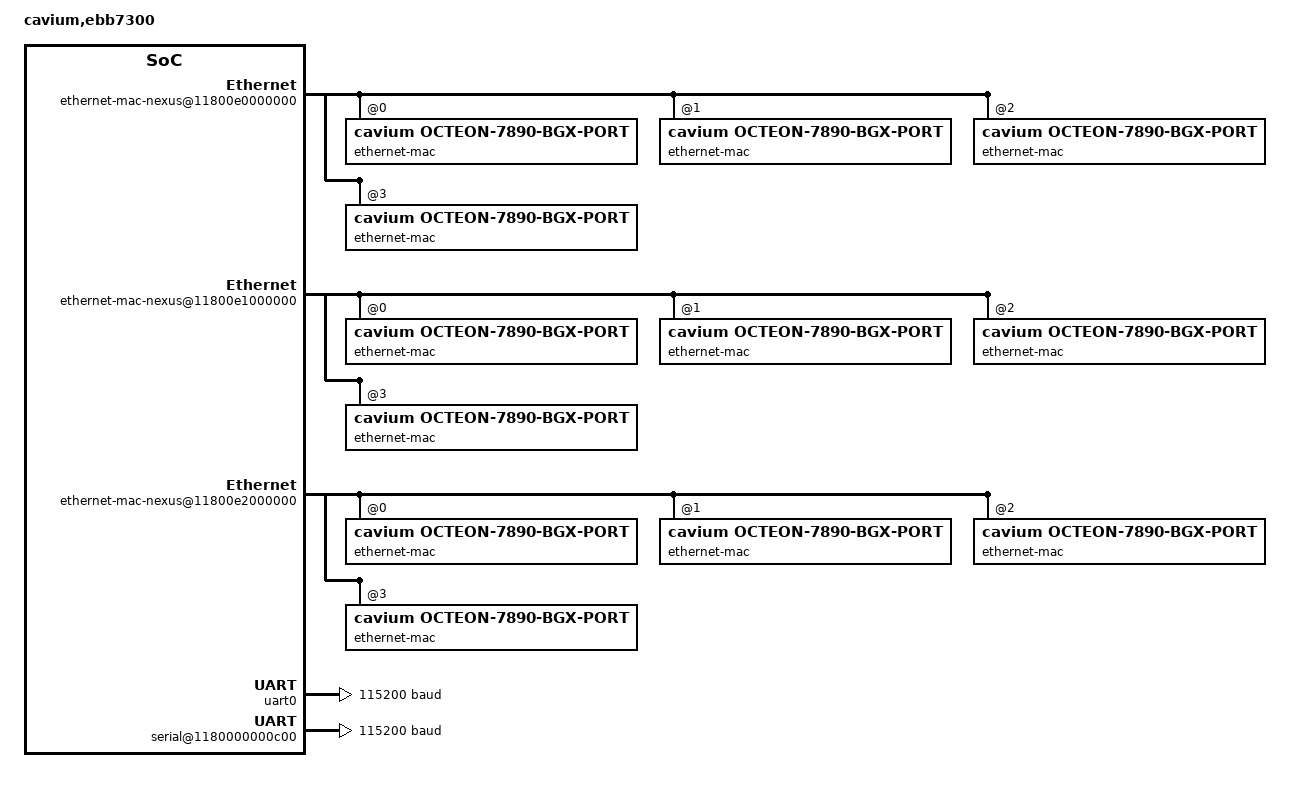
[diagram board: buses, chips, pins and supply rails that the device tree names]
/dts-v1/;
/*
 * Cavium Inc. sim CN7300
 */
/ {
	model = "cavium,ebb7300";
	compatible = "cavium,ebb7300";
	#address-cells = <2>;
	#size-cells = <2>;

	soc@0 {
		interrupt-parent = <&ciu3>;
		compatible = "simple-bus";
		#address-cells = <2>;
		#size-cells = <2>;
		ranges; /* Direct mapping */

		ciu3: interrupt-controller@1010000000000 {
			compatible = "cavium,octeon-7890-ciu3";
			interrupt-controller;
			/* Interrupts are specified by two parts:
			 * 1) Source number (20 significant bits)
			 * 2) Trigger type: (4 == level, 1 == edge)
			 */
			#address-cells = <0>;
			#interrupt-cells = <2>;
			reg = <0x10100 0x00000000 0x0 0xb0000000>;
		};

		/* BGX definitions here must match sim_board.c settings. */
		/* BGX 0*/
		ethernet-mac-nexus@11800e0000000 {
			compatible = "cavium,octeon-7890-bgx";
			reg = <0x11800 0xe0000000 0x0 0x1000000>;
			#address-cells = <1>;
			#size-cells = <0>;

			/* SerDes 0, may differ from PCS Lane/LMAC */
			ethernet-mac@0 {
				compatible = "cavium,octeon-7890-bgx-port";
				reg = <0>;
				local-mac-address = [ 00 00 00 00 00 00 ];
			};
			/* SerDes 1, may differ from PCS Lane/LMAC */
			ethernet-mac@1 {
				compatible = "cavium,octeon-7890-bgx-port";
				reg = <1>;
				local-mac-address = [ 00 00 00 00 00 00 ];
			};
			/* SerDes 2, may differ from PCS Lane/LMAC */
			ethernet-mac@2 {
				compatible = "cavium,octeon-7890-bgx-port";
				reg = <2>;
				local-mac-address = [ 00 00 00 00 00 00 ];
			};
			/* SerDes 3, may differ from PCS Lane/LMAC */
			ethernet-mac@3 {
				compatible = "cavium,octeon-7890-bgx-port";
				reg = <3>;
				local-mac-address = [ 00 00 00 00 00 00 ];
			};
		};

		/* BGX 1*/
		ethernet-mac-nexus@11800e1000000 {
			compatible = "cavium,octeon-7890-bgx";
			reg = <0x11800 0xe1000000 0x0 0x1000000>;
			#address-cells = <1>;
			#size-cells = <0>;

			ethernet-mac@0 {
				compatible = "cavium,octeon-7890-bgx-port";
				reg = <0>;
				local-mac-address = [ 00 00 00 00 00 00 ];
			};
			ethernet-mac@1 {
				compatible = "cavium,octeon-7890-bgx-port";
				reg = <1>;
				local-mac-address = [ 00 00 00 00 00 00 ];
			};
			ethernet-mac@2 {
				compatible = "cavium,octeon-7890-bgx-port";
				reg = <2>;
				local-mac-address = [ 00 00 00 00 00 00 ];
			};
			ethernet-mac@3 {
				compatible = "cavium,octeon-7890-bgx-port";
				reg = <3>;
				local-mac-address = [ 00 00 00 00 00 00 ];
			};
		};

		/* BGX 2 */
		ethernet-mac-nexus@11800e2000000 {
			compatible = "cavium,octeon-7890-bgx";
			reg = <0x11800 0xe2000000 0x0 0x1000000>;
			#address-cells = <1>;
			#size-cells = <0>;

			ethernet-mac@0 {
				compatible = "cavium,octeon-7890-bgx-port";
				reg = <0>;
				local-mac-address = [ 00 00 00 00 00 00 ];
			};
			ethernet-mac@1 {
				compatible = "cavium,octeon-7890-bgx-port";
				reg = <1>;
				local-mac-address = [ 00 00 00 00 00 00 ];
			};
			ethernet-mac@2 {
				compatible = "cavium,octeon-7890-bgx-port";
				reg = <2>;
				local-mac-address = [ 00 00 00 00 00 00 ];
			};
			ethernet-mac@3 {
				compatible = "cavium,octeon-7890-bgx-port";
				reg = <3>;
				local-mac-address = [ 00 00 00 00 00 00 ];
			};
		};

		bootbus: bootbus@1180000000000 {
			compatible = "cavium,octeon-3860-bootbus";
			reg = <0x11800 0x00000000 0x0 0x200>;
			/* The chip select number and offset */
			#address-cells = <2>;
			/* The size of the chip select region */
			#size-cells = <1>;
			ranges = <0 0  0       0x1f400000  0xc00000>,
				 <1 0  0x10000 0x10000000  0>,
				 <2 0  0x10000 0x20000000  0>,
				 <3 0  0x10000 0x30000000  0>,
				 <4 0  0x10000 0x1d020000  0x10000>,
				 <5 0  0x10000 0x50000000  0x10000>,
				 <6 0  0x10000 0x60000000  0x10000>,
				 <7 0  0x10000 0x90000000  0>;

			cavium,cs-config@0 {
				compatible = "cavium,octeon-3860-bootbus-config";
				cavium,cs-index = <0>;
				cavium,t-adr  = <10>;
				cavium,t-ce   = <50>;
				cavium,t-oe   = <50>;
				cavium,t-we   = <35>;
				cavium,t-rd-hld = <25>;
				cavium,t-wr-hld = <35>;
				cavium,t-pause  = <0>;
				cavium,t-wait   = <300>;
				cavium,t-page   = <25>;
				cavium,t-rd-dly = <0>;

				cavium,pages     = <0>;
				cavium,bus-width = <8>;
			};
			cavium,cs-config@4 {
				compatible = "cavium,octeon-3860-bootbus-config";
				cavium,cs-index = <4>;
				cavium,t-adr  = <10>;
				cavium,t-ce   = <10>;
				cavium,t-oe   = <160>;
				cavium,t-we   = <100>;
				cavium,t-rd-hld = <0>;
				cavium,t-wr-hld = <0>;
				cavium,t-pause  = <50>;
				cavium,t-wait   = <300>;
				cavium,t-page   = <300>;
				cavium,t-rd-dly = <10>;

				cavium,pages     = <0>;
				cavium,bus-width = <8>;
			};
			flash0: nor@0,0 {
				compatible = "cfi-flash";
				reg = <0 0 0x800000>;
				#address-cells = <1>;
				#size-cells = <1>;

				partition@0 {
					label = "bootloader";
					reg = <0 0x200000>;
					read-only;
				};
				partition@200000 {
					label = "kernel";
					reg = <0x200000 0x200000>;
				};
				partition@400000 {
					label = "cramfs";
					reg = <0x400000 0x3fe000>;
				};
				partition@7fe000 {
					label = "environment";
					reg = <0x7fe000 0x2000>;
					read-only;
				};
			};
		};
		uart0: serial@1180000000800 {
			compatible = "cavium,octeon-3860-uart","ns16550";
			reg = <0x11800 0x00000800 0x0 0x400>;
			clock-frequency = <1843200>;
			current-speed = <115200>;
			reg-shift = <3>;
			interrupts = <0x08000 4>;
		};

		serial@1180000000c00 {
			compatible = "cavium,octeon-3860-uart","ns16550";
			reg = <0x11800 0x00000c00 0x0 0x400>;
			clock-frequency = <1843200>;
			current-speed = <115200>;
			reg-shift = <3>;
			interrupts = <0x08040 4>;
		};

		ocla0@11800A8000000 {
			compatible = "cavium,octeon-7130-ocla";
			reg = <0x11800 0xa8000000 0x0 0x500000>;
			interrupts = <0xa800c 1>, /* Fsm0 */
				     <0xa800d 1>; /* Fsm1 */
		};

		ocla1@11800A9000000 {
			compatible = "cavium,octeon-7130-ocla";
			reg = <0x11800 0xa9000000 0x0 0x500000>;
			interrupts = <0xa900c 1>, /* Fsm0 */
				     <0xa900d 1>; /* Fsm1 */
		};

		ocla2@11800AA000000 {
			compatible = "cavium,octeon-7130-ocla";
			reg = <0x11800 0xaa000000 0x0 0x500000>;
			interrupts = <0xaa00c 1>, /* Fsm0 */
				     <0xaa00d 1>; /* Fsm1 */
		};

		ocla3@11800AB000000 {
			compatible = "cavium,octeon-7130-ocla";
			reg = <0x11800 0xab000000 0x0 0x500000>;
			interrupts = <0xab00c 1>, /* Fsm0 */
				     <0xab00d 1>; /* Fsm1 */
		};

		ocla4@11800AC000000 {
			compatible = "cavium,octeon-7130-ocla";
			reg = <0x11800 0xac000000 0x0 0x500000>;
			interrupts = <0xac00c 1>, /* Fsm0 */
				     <0xac00d 1>; /* Fsm1 */
		};
	};

};
